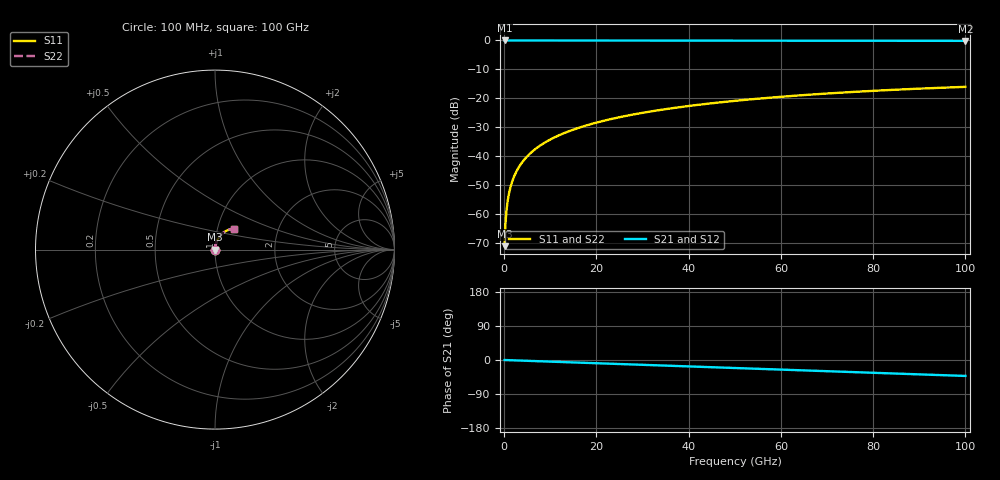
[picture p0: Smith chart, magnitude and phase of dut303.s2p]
! Touchstone file exported from HFSS 2026.1.0
!  File:  C:/ffzhzh/LocalFiles/Ansys_Project_Files/temp_train_TSV_303_1783509217_9504.aedt
!  Generated:  07:14:51 PM Jul  8, 2026
!  Design:  TSV
!  Project:  temp_train_TSV_303_1783509217_9504
! Variables:
!  h_bsmrdl = 2um
!  h_ox = 20um
!  h_rdl = 5um
!  h_sub = 80.32um
!  h_tmrdl = 5um
!  h_tsv = 80.32um
!  h_via = 3um
!  l_bsmrdl = 300um
!  l_sub = 417.58um
!  l_tmrdl = 200um
!  m_sub = 200um
!  pitch = 49.05um
!  r_tsv = 8.79um
!  s_tmrdl = 10um
!  w_bsmrdl = 18um
!  w_sub = 500um
!  w_tmrdl = 12um
!  x_tsv_center1 = 206um
!  x_tsv_center2 = 524um
!  x_tsv_center3 = 736um
!  x_tsv_center4 = 1054um
!  x_tsv_center5 = 1266um
!  x_tsv_center6 = 1584um
# GHz S MA R 50.000000
! Terminal data exported
! Port[1] = TSV1_1_T1
! Port[2] = TSV1_1_T2
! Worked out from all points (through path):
!   1000 points, 100 MHz to 100 GHz, reference 50 ohm
!   highest |S21| = 0.00 dB at 100 MHz (marker M1); lowest = -0.1 dB at 100 GHz (marker M2)
!   group delay of S21, straight-line fit = 1.17 ps
!   lowest |S11| = -71.1 dB at 100 MHz (marker M3), VSWR 1.00, Z = 50 + j0.0233 ohm
!   |S11| at or under -10 dB: start of sweep to end of sweep
!   |S22| runs from -71.1 to -16.0 dB; largest |S21 - S12| = 3.6e-15
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0.1  0.0002788 56.6  0.9998 -0.0  0.9998 -0.0  0.0002788 56.6
! Gamma 0 0 0 0
! Port Impedance 50 0 50 0
0.3  0.0007101 75.0  0.9998 -0.1  0.9998 -0.1  0.0007101 75.0
0.7  0.001555 80.1  0.9997 -0.3  0.9997 -0.3  0.001555 80.1
0.8  0.001759 80.6  0.9997 -0.4  0.9997 -0.4  0.001759 80.6
1  0.002164 81.4  0.9997 -0.4  0.9997 -0.4  0.002164 81.4
1.3  0.002766 82.2  0.9996 -0.6  0.9996 -0.6  0.002766 82.2
1.7  0.003561 82.9  0.9996 -0.7  0.9996 -0.7  0.003561 82.9
2.3  0.004741 83.4  0.9995 -1.0  0.9995 -1.0  0.004741 83.4
3  0.006102 83.7  0.9994 -1.3  0.9994 -1.3  0.006102 83.7
3.8  0.007644 83.8  0.9994 -1.6  0.9994 -1.6  0.007644 83.8
4.8  0.009559 83.9  0.9993 -2.1  0.9993 -2.1  0.009559 83.9
6  0.01185 83.8  0.9992 -2.6  0.9992 -2.6  0.01185 83.8
8.8  0.01716 83.2  0.9989 -3.8  0.9989 -3.8  0.01716 83.2
12.4  0.02393 82.1  0.9986 -5.3  0.9986 -5.3  0.02393 82.1
16.8  0.03212 80.5  0.9982 -7.2  0.9982 -7.2  0.03212 80.5
24.2  0.04571 77.8  0.9974 -10.3  0.9974 -10.3  0.04571 77.8
33.4  0.0622 74.2  0.9963 -14.2  0.9963 -14.2  0.0622 74.2
41.2  0.07575 71.0  0.9951 -17.5  0.9951 -17.5  0.07575 71.0
50.1  0.09063 67.4  0.9937 -21.2  0.9937 -21.2  0.09063 67.4
66.7  0.1164 60.6  0.9907 -28.2  0.9907 -28.2  0.1164 60.6
83.4  0.1391 53.8  0.9875 -35.2  0.9875 -35.2  0.1391 53.8
100  0.1578 47.0  0.9843 -42.1  0.9843 -42.1  0.1578 47.0
